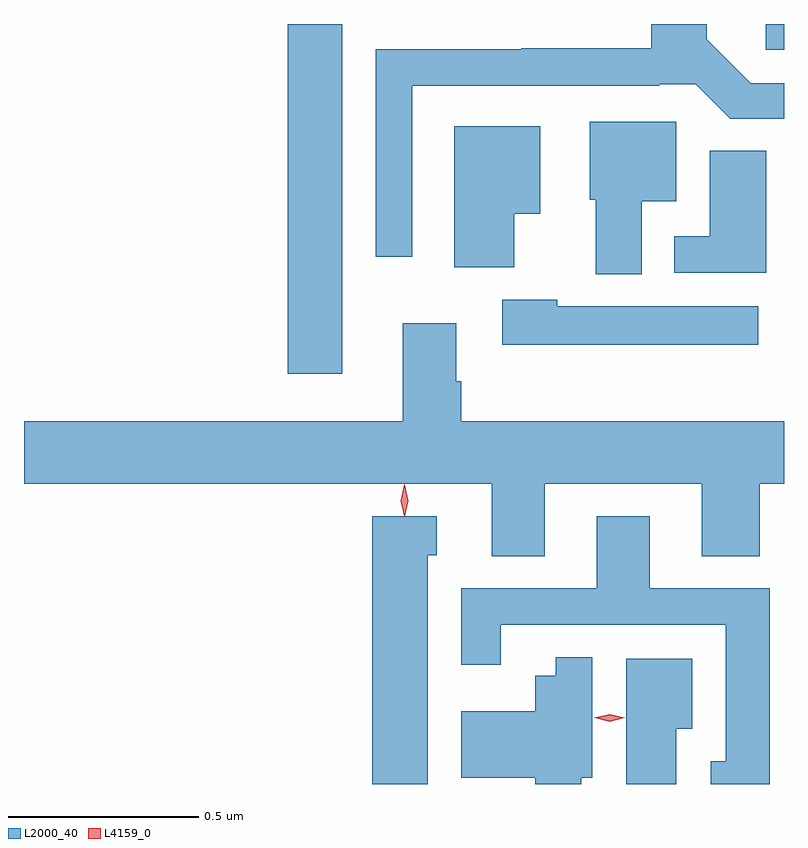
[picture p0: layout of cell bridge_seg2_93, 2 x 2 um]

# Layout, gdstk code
import gdstk
lib = gdstk.Library(unit=1e-6, precision=1e-09)
def R(c, l, rs):  # rectangles x0, y0, x1, y1
    for r in rs: c.add(gdstk.rectangle(r[:2], r[2:], *l))
def P(c, l, *ps):  # polygons
    for p in ps: c.add(gdstk.Polygon(p, *l))
L2000_40 = (2000, 40)
L4159_0 = (4159, 0)

bridge_seg2_93 = lib.new_cell('bridge_seg2_93')
R(bridge_seg2_93, L2000_40, [(354.716,649.257,354.859,650.178), (355.974,650.11,356.022,650.178)])
P(bridge_seg2_93, L2000_40, [(355.044,650.015),(355.045,650.015),(355.045,650.016),(355.694,650.016),(355.694,650.019),(355.79,650.019),(355.88,649.929),(356.022,649.929),(356.022,650.022),(355.935,650.022),(355.819,650.138),(355.819,650.178),(355.672,650.178),(355.672,650.114),(355.33,650.114),(355.33,650.112),(354.948,650.112),(354.948,649.566),(355.044,649.566)],
  [(355.648,649.712),(355.738,649.712),(355.738,649.921),(355.511,649.921),(355.511,649.716),(355.526,649.716),(355.526,649.52),(355.648,649.52)],
  [(355.312,649.679),(355.381,649.679),(355.381,649.909),(355.154,649.909),(355.154,649.538),(355.312,649.538)],
  [(355.975,649.844),(355.826,649.844),(355.826,649.62),(355.733,649.62),(355.733,649.524),(355.975,649.524)],
  [(355.954,649.435),(355.425,649.435),(355.425,649.453),(355.281,649.453),(355.281,649.334),(355.954,649.334)],
  [(355.393,648.968),(355.805,648.968),(355.805,648.778),(355.958,648.778),(355.958,648.968),(356.022,648.968),(356.022,649.132),(355.172,649.132),(355.172,649.238),(355.159,649.238),(355.159,649.39),(355.019,649.39),(355.019,649.132),(354.022,649.132),(354.022,648.968),(355.253,648.968),(355.253,648.778),(355.393,648.778)],
  [(355.084,648.78),(355.108,648.78),(355.108,648.883),(354.938,648.883),(354.938,648.178),(355.084,648.178)],
  [(355.985,648.693),(355.669,648.693),(355.669,648.883),(355.529,648.883),(355.529,648.693),(355.172,648.693),(355.172,648.492),(355.276,648.492),(355.276,648.597),(355.869,648.597),(355.869,648.238),(355.829,648.238),(355.829,648.178),(355.985,648.178)],
  [(355.489,648.194),(355.518,648.194),(355.518,648.512),(355.421,648.512),(355.421,648.463),(355.367,648.463),(355.367,648.37),(355.172,648.37),(355.172,648.194),(355.367,648.194),(355.367,648.178),(355.489,648.178)],
  [(355.738,648.323),(355.78,648.323),(355.78,648.508),(355.607,648.508),(355.607,648.178),(355.738,648.178)])
P(bridge_seg2_93, L4159_0, [(355.563,648.342),(355.522,648.352),(355.522,648.352),(355.522,648.352),(355.563,648.362),(355.603,648.353),(355.603,648.353),(355.603,648.353)],
  [(355.024,648.882),(355.023,648.883),(355.014,648.924),(355.023,648.965),(355.024,648.965),(355.024,648.965),(355.033,648.924),(355.024,648.883)])

lib.write_gds('bridge_seg2_93.gds')
